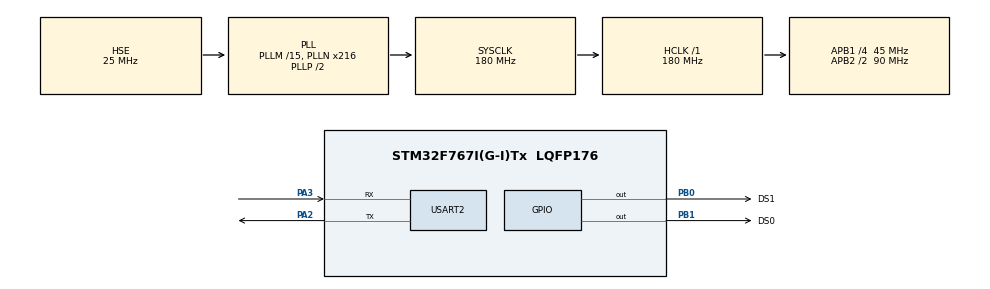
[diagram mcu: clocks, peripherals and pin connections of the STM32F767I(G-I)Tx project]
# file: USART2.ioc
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Mcu.Family=STM32F7
Mcu.Name=STM32F767I(G-I)Tx
Mcu.Package=LQFP176
NVIC.PriorityGroup=NVIC_PRIORITYGROUP_2
NVIC.USART2_IRQn=true\:3\:3\:true\:false\:true\:true\:true
PA10.Signal=USART1_RX
PA13.Mode=Trace_Asynchronous_SW
PA13.Signal=SYS_JTMS-SWDIO
PA14.Mode=Trace_Asynchronous_SW
PA14.Signal=SYS_JTCK-SWCLK
PA2.Mode=Asynchronous
PA2.Signal=USART2_TX
PA3.Mode=Asynchronous
PA3.Signal=USART2_RX
PA9.Signal=USART1_TX
PB0.GPIO_Label=DS1
PB0.Signal=GPIO_Output
PB1.GPIO_Label=DS0
PB1.Signal=GPIO_Output
PB3.Mode=Trace_Asynchronous_SW
PB3.Signal=SYS_JTDO-SWO
PC14/OSC32_IN.Mode=LSE-External-Oscillator
PC14/OSC32_IN.Signal=RCC_OSC32_IN
PC15/OSC32_OUT.Mode=LSE-External-Oscillator
PC15/OSC32_OUT.Signal=RCC_OSC32_OUT
PH0/OSC_IN.Mode=HSE-External-Oscillator
PH0/OSC_IN.Signal=RCC_OSC_IN
PH1/OSC_OUT.Mode=HSE-External-Oscillator
PH1/OSC_OUT.Signal=RCC_OSC_OUT
ProjectManager.HeapSize=0x200
ProjectManager.StackSize=0x400
ProjectManager.TargetToolchain=STM32CubeIDE
RCC.AHBFreq_Value=180000000
RCC.APB1CLKDivider=RCC_HCLK_DIV4
RCC.APB1Freq_Value=45000000
RCC.APB1TimFreq_Value=90000000
RCC.APB2CLKDivider=RCC_HCLK_DIV2
RCC.APB2Freq_Value=90000000
RCC.APB2TimFreq_Value=180000000
RCC.CortexFreq_Value=180000000
RCC.HCLKFreq_Value=180000000
RCC.HSE_VALUE=25000000
RCC.HSI_VALUE=16000000
RCC.PLLM=15
RCC.PLLN=216
RCC.PLLSourceVirtual=RCC_PLLSOURCE_HSE
RCC.SYSCLKFreq_VALUE=180000000
RCC.SYSCLKSource=RCC_SYSCLKSOURCE_PLLCLK
RCC.USBFreq_Value=180000000
RCC.VCOOutputFreq_Value=360000000
USART2.VirtualMode-Asynchronous=VM_ASYNC
board=custom

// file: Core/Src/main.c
/* USER CODE BEGIN Header */
/**
  ******************************************************************************
  * @file           : main.c
  * @brief          : Main program body
  ******************************************************************************
  * @attention
  *
  * <h2><center>&copy; Copyright (c) 2021 STMicroelectronics.
  * All rights reserved.</center></h2>
  *
  * This software component is licensed by ST under BSD 3-Clause license,
  * the "License"; You may not use this file except in compliance with the
  * License. You may obtain a copy of the License at:
  *                        opensource.org/licenses/BSD-3-Clause
  *
  ******************************************************************************
  */
/* USER CODE END Header */
#include "main.h"
#include "usart.h"
#include "gpio.h"

/* USER CODE BEGIN Includes */
#include <stdio.h>
/* USER CODE END Includes */

void SystemClock_Config(void);

/* USER CODE BEGIN 0 */

#ifdef __GNUC__
#define PUTCHAR_PROTOTYPE int __io_putchar(int ch)
#define GETCHAR_PROTOTYPE int __io_getchar(FILE *f)
#else
#define PUTCHAR_PROTOTYPE int fputc(int ch, FILE *f)
#define GETCHAR_PROTOTYPE int fgetc(FILE *f)
#endif

#ifdef __GNUC__
PUTCHAR_PROTOTYPE
{
	HAL_UART_Transmit(&huart2, (uint8_t*)&ch,1,500);
    return ch;
}

GETCHAR_PROTOTYPE
{
  uint8_t  ch;
  HAL_UART_Receive(&huart2,(uint8_t *)&ch, 1, 500);
  return  ch;
}
#else
PUTCHAR_PROTOTYPE
{
	HAL_UART_Transmit(&huart2, (uint8_t *)&ch, 1, 500);

	return (ch);
}

GETCHAR_PROTOTYPE
{
	int ch;
	HAL_UART_Receive(&huart2, (uint8_t *)&ch, 1, 500);

	return (ch);
}
#endif

/* USER CODE END 0 */

int main(void)
{

  /* MCU Configuration--------------------------------------------------------*/

  /* Reset of all peripherals, Initializes the Flash interface and the Systick. */
  HAL_Init();

  /* Configure the system clock */
  SystemClock_Config();

  /* Initialize all configured peripherals */
  MX_GPIO_Init();
  MX_USART2_UART_Init();

  /* Infinite loop */
  /* USER CODE BEGIN WHILE */
  while (1)
  {
	  HAL_GPIO_TogglePin(DS0_GPIO_Port, DS0_Pin);
	  printf("csy swo hello world.\r\n");
	  HAL_Delay(100);
    /* USER CODE END WHILE */

  }
}

void SystemClock_Config(void)
{
  RCC_OscInitTypeDef RCC_OscInitStruct = {0};
  RCC_ClkInitTypeDef RCC_ClkInitStruct = {0};
  RCC_PeriphCLKInitTypeDef PeriphClkInitStruct = {0};

  /** Configure LSE Drive Capability
  */
  HAL_PWR_EnableBkUpAccess();
  /** Configure the main internal regulator output voltage
  */
  __HAL_RCC_PWR_CLK_ENABLE();
  __HAL_PWR_VOLTAGESCALING_CONFIG(PWR_REGULATOR_VOLTAGE_SCALE1);
  /** Initializes the RCC Oscillators according to the specified parameters
  * in the RCC_OscInitTypeDef structure.
  */
  RCC_OscInitStruct.OscillatorType = RCC_OSCILLATORTYPE_HSE;
  RCC_OscInitStruct.HSEState = RCC_HSE_ON;
  RCC_OscInitStruct.PLL.PLLState = RCC_PLL_ON;
  RCC_OscInitStruct.PLL.PLLSource = RCC_PLLSOURCE_HSE;
  RCC_OscInitStruct.PLL.PLLM = 15;
  RCC_OscInitStruct.PLL.PLLN = 216;
  RCC_OscInitStruct.PLL.PLLP = RCC_PLLP_DIV2;
  RCC_OscInitStruct.PLL.PLLQ = 2;
  if (HAL_RCC_OscConfig(&RCC_OscInitStruct) != HAL_OK)
  {
    Error_Handler();
  }
  /** Initializes the CPU, AHB and APB buses clocks
  */
  RCC_ClkInitStruct.ClockType = RCC_CLOCKTYPE_HCLK|RCC_CLOCKTYPE_SYSCLK
                              |RCC_CLOCKTYPE_PCLK1|RCC_CLOCKTYPE_PCLK2;
  RCC_ClkInitStruct.SYSCLKSource = RCC_SYSCLKSOURCE_PLLCLK;
  RCC_ClkInitStruct.AHBCLKDivider = RCC_SYSCLK_DIV1;
  RCC_ClkInitStruct.APB1CLKDivider = RCC_HCLK_DIV4;
  RCC_ClkInitStruct.APB2CLKDivider = RCC_HCLK_DIV2;

  if (HAL_RCC_ClockConfig(&RCC_ClkInitStruct, FLASH_LATENCY_5) != HAL_OK)
  {
    Error_Handler();
  }
  PeriphClkInitStruct.PeriphClockSelection = RCC_PERIPHCLK_USART2;
  PeriphClkInitStruct.Usart2ClockSelection = RCC_USART2CLKSOURCE_PCLK1;
  if (HAL_RCCEx_PeriphCLKConfig(&PeriphClkInitStruct) != HAL_OK)
  {
    Error_Handler();
  }
}

void Error_Handler(void)
{
  __disable_irq();
  while (1)
  {
  }
}

/************************ (C) COPYRIGHT STMicroelectronics *****END OF FILE****/
